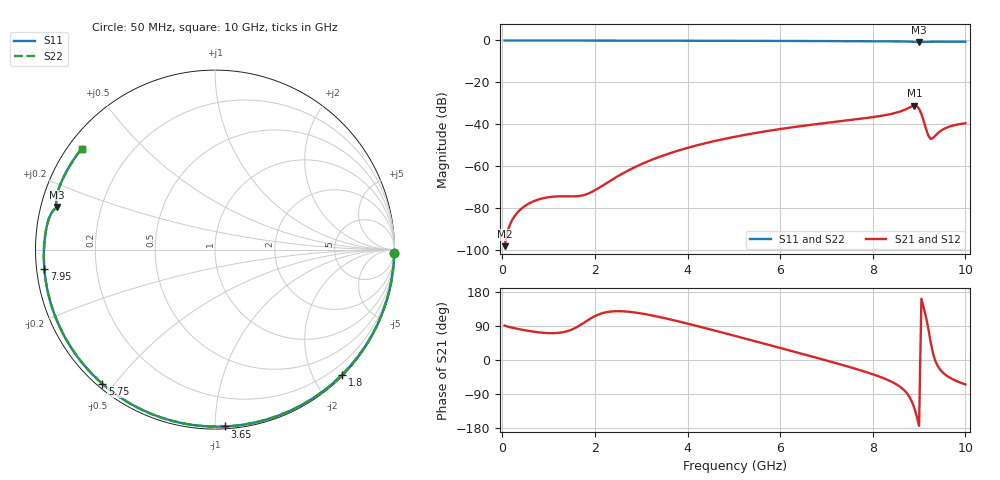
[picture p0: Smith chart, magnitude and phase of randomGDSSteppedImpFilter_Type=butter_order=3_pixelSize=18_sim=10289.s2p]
! freq	dB(S11)	phase(S11)	dB(S12)	phase(S12)
!  dB(S21)	phase(S21)	dB(S22)	phase(S22)
!S-par simulation data
#  GHz  S  DB  R 50
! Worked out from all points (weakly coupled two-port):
!   200 points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, 50 MHz to 10 GHz, reference 50 ohm
!   highest |S21| = -31.10 dB at 8.9 GHz (marker M1); lowest = -98.3 dB at 50 MHz (marker M2)
!   lowest |S11| = -0.8 dB at 9 GHz (marker M3), VSWR 21.78, Z = 2.34 + j6.61 ohm
!   |S11| at or under -10 dB: nowhere
!   |S22| runs from -0.8 to 0.0 dB; largest |S21 - S12| = 0
!   S11 on the Smith chart (normalised r, x): 50 MHz: 3, -94; 1.8 GHz: 0.02, -2.44; 3.65 GHz: 0.01, -1.06; 5.75 GHz: 0.01, -0.47; 7.95 GHz: 0.02, -0.06; 10 GHz: 0.04, +0.34
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0.05  -0.01 -1.2  -98.28 91.0  -98.28 91.0  -0.01 -1.2
0.4  -0.02 -10.1  -80.62 80.5  -80.62 80.5  -0.02 -10.1
0.7  -0.02 -17.6  -76.61 74.4  -76.61 74.4  -0.02 -17.6
1  -0.03 -25.1  -74.87 70.9  -74.87 70.9  -0.03 -25.1
1.75  -0.05 -43.4  -73.92 97.3  -73.92 97.3  -0.05 -43.4
1.8  -0.06 -44.6  -73.60 101.3  -73.60 101.3  -0.06 -44.6
2.75  -0.08 -66.8  -61.77 127.1  -61.77 127.1  -0.08 -66.8
3.4  -0.10 -81.3  -55.57 113.3  -55.57 113.3  -0.10 -81.3
3.65  -0.11 -86.8  -53.67 106.4  -53.67 106.4  -0.11 -86.8
4.35  -0.14 -101.6  -49.28 85.2  -49.28 85.2  -0.14 -101.6
5.05  -0.17 -116.0  -45.89 62.8  -45.89 62.8  -0.17 -116.0
5.75  -0.21 -130.0  -43.18 40.0  -43.18 40.0  -0.21 -130.0
6.7  -0.28 -148.7  -40.20 8.8  -40.20 8.8  -0.28 -148.7
7.95  -0.38 -173.6  -36.79 -35.5  -36.79 -35.5  -0.38 -173.6
8.35  -0.43 178.1  -35.34 -54.1  -35.34 -54.1  -0.43 178.1
8.9  -0.69 166.0  -31.10 -127.4  -31.10 -127.4  -0.69 166.0
9  -0.80 164.9  -32.65 -173.5  -32.65 -173.5  -0.80 164.9
9.05  -0.76 164.4  -35.15 161.6  -35.15 161.6  -0.77 164.4
9.2  -0.63 161.5  -45.47 82.7  -45.47 82.7  -0.63 161.5
9.25  -0.61 160.3  -47.07 47.5  -47.07 47.5  -0.61 160.3
9.55  -0.58 153.4  -42.11 -37.1  -42.11 -37.1  -0.58 153.4
10  -0.61 142.9  -39.57 -64.5  -39.57 -64.5  -0.61 142.9
